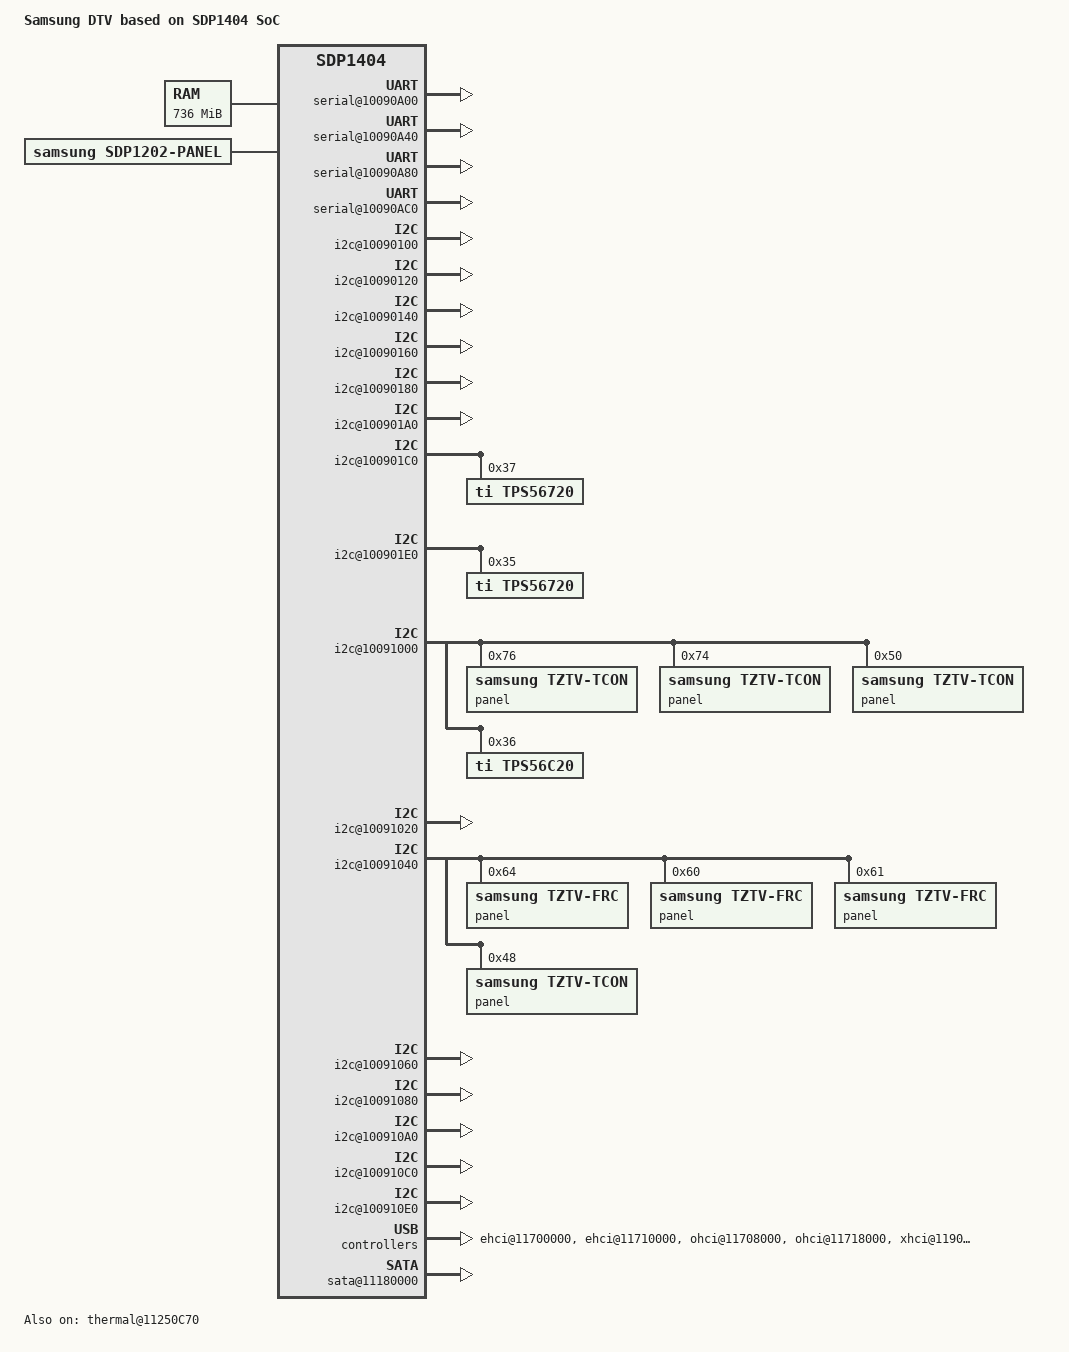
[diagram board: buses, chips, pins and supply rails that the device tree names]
/*
 * Copyright (C) 2014 Samsung Electronics Co.Ltd
 *
 * This program is free software; you can redistribute it and/or modify
 * it under the terms of the GNU General Public License version 2 as
 * published by the Free Software Foundation.
 */

/dts-v1/;
#include "sdp1404.dtsi"

/ {
	model = "Samsung DTV based on SDP1404 SoC";
	compatible = "samsung,dtv", "samsung,sdp1404";

	memory {
		device_type = "memory";
		reg =  <0xF2000000 0x2E000000>;
	};
	/*in the below chosen, before  SELP_ENABLE must have more than 1 space.because 2nd booting will change mmcblk0p8 to mmcblk0p11 */
	chosen {
		bootargs = __STR__(root=/dev/mmcblk0p10  console=ttyS0,115200N8  SELP_ENABLE=00000000 rootfstype=vdfs rootwait earlyprintk vmalloc=776M av QUIET_PARAM) ;
	};

	cpus {
		#address-cells = <1>;
		#size-cells = <0>;

		cpu@0 {
			device_type = "cpu";
			compatible = "arm,cortex-a15";
			reg = <0>;
			cluster = <&cluster0>;
			core = <&core0>;
			clock-frequency = <1300000000>;
//			cci-control-port = <&cci_control1>;
		};
		cpu@1 {
			device_type = "cpu";
			compatible = "arm,cortex-a15";
			reg = <1>;
			cluster = <&cluster0>;
			core = <&core1>;
			clock-frequency = <1300000000>;
//			cci-control-port = <&cci_control1>;
		};

		cpu@2 {
			device_type = "cpu";
			compatible = "arm,cortex-a15";
			reg = <2>;
			cluster = <&cluster0>;
			core = <&core2>;
			clock-frequency = <1300000000>;
//			cci-control-port = <&cci_control1>;
		};

		cpu@3 {
			device_type = "cpu";
			compatible = "arm,cortex-a15";
			reg = <3>;
			cluster = <&cluster0>;
			core = <&core3>;
			clock-frequency = <1300000000>;
//			cci-control-port = <&cci_control1>;
		};
		
		cpu@4 {
			device_type = "cpu";
			compatible = "arm,cortex-a7";
			reg = <0x100>;
			cluster = <&cluster1>;
			core = <&core4>;
			clock-frequency = <1000000000>;
//			cci-control-port = <&cci_control2>;
		};
		cpu@5 {
			device_type = "cpu";
			compatible = "arm,cortex-a7";
			reg = <0x101>;
			cluster = <&cluster1>;
			core = <&core5>;
			clock-frequency = <1000000000>;
//			cci-control-port = <&cci_control2>;
		};

		cpu@6 {
			device_type = "cpu";
			compatible = "arm,cortex-a7";
			reg = <0x102>;
			cluster = <&cluster1>;
			core = <&core6>;
			clock-frequency = <1000000000>;
//			cci-control-port = <&cci_control2>;
		};

		cpu@7 {
			device_type = "cpu";
			compatible = "arm,cortex-a7";
			reg = <0x103>;
			cluster = <&cluster1>;
			core = <&core7>;
			clock-frequency = <1000000000>;
//			cci-control-port = <&cci_control2>;
		};

	};

	fixed-rate-clocks {
		fin {
			compatible = "samsung,sdp-clock-fin";
			clock-frequency = <24576000>;
		};
		fin-lvds {
			compatible = "samsung,sdp-clock-fin-lvds";
			clock-frequency = <148500000>;
		};
	};

	pinctrl{ // only P
		compatible = "samsung,sdp-pinctrl";
		reg = <0x11250C00 0x2f0>;
		start-offset = <0x118>;
		nr-banks = <27>;	
		model-sel = <1>;	
	};

	serial@10090A00 {
		status = "okay";
	};
	
	serial@10090A40 {
		status = "okay";
	};
	
	serial@10090A80 {
		status = "okay";
	};
	
	serial@10090AC0 {
		status = "okay";
	};
	
	i2c@10090100 {
		status = "okay";
		samsung,i2c-sda-delay = <1>;
		samsung,i2c-max-bus-freq = <400000>;
		samsung,i2c-irq-status-reg = <0x100901F4>;
		samsung,i2c-cpu-affinity = <3>;
	};

	i2c@10090120 {
		status = "okay";
		samsung,i2c-sda-delay = <1>;
		samsung,i2c-max-bus-freq = <400000>;
		samsung,i2c-irq-status-reg = <0x100901F4>;
		samsung,i2c-cpu-affinity = <3>;
	};

	i2c@10090140 { 
		status = "okay";
		samsung,i2c-sda-delay = <1>;
		samsung,i2c-max-bus-freq = <400000>;
		samsung,i2c-irq-status-reg = <0x100901F4>;
		samsung,i2c-cpu-affinity = <3>;
	};

	i2c@10090160 {
		status = "okay";
		samsung,i2c-sda-delay = <1>;
		samsung,i2c-max-bus-freq = <400000>;
		samsung,i2c-irq-status-reg = <0x100901F4>;
		samsung,i2c-cpu-affinity = <3>;
	};

	i2c@10090180 {
		status = "okay";
		samsung,i2c-sda-delay = <1>;
		samsung,i2c-max-bus-freq = <400000>;
		samsung,i2c-irq-status-reg = <0x100901F4>;
		samsung,i2c-cpu-affinity = <3>;
	};

	i2c@100901A0 {
		status = "okay";
		samsung,i2c-sda-delay = <1>;
		samsung,i2c-max-bus-freq = <400000>;
		samsung,i2c-irq-status-reg = <0x100901F4>;
		samsung,i2c-cpu-affinity = <3>;
	};

	i2c@100901C0 {
		status = "okay";
		samsung,i2c-sda-delay = <1>;
		samsung,i2c-max-bus-freq = <400000>;
		samsung,i2c-irq-status-reg = <0x100901F4>;
		samsung,i2c-cpu-affinity = <3>;

		tps56720@37 {
			compatible = "ti,tps56720";
			reg = <0x37>;
		
			regulator-name = "CPU_BIG_PW";
			regulator-min-microvolt = <600000>;
			regulator-max-microvolt = <1870000>;
			regulator-always-on;
			regulator-boot-on;
			
			default_volt = <1230000>;
		};
	};

	i2c@100901E0 {
		status = "okay";
		samsung,i2c-sda-delay = <1>;
		samsung,i2c-max-bus-freq = <400000>;
		samsung,i2c-irq-status-reg = <0x100901F4>;
		samsung,i2c-cpu-affinity = <3>;

		tps56720@35 {
			compatible = "ti,tps56720";
			reg = <0x35>;

			regulator-name = "GPU_LOG_PW";
			regulator-min-microvolt = <600000>;
			regulator-max-microvolt = <1870000>;
			regulator-always-on;
			regulator-boot-on;

			default_volt = <1100000>;
		};
	};

	i2c@10091000 {
		status = "okay";
		samsung,i2c-sda-delay = <1>;
		samsung,i2c-max-bus-freq = <400000>;
		samsung,i2c-irq-status-reg = <0x100910F4>;
		samsung,i2c-cpu-affinity = <3>;

		/* panel 0xEC */
		panel@76 {
			compatible = "samsung,tztv-tcon";
			reg = <0x76>;
		};

		/* panel 0xE8 */
		panel@74 {
			compatible = "samsung,tztv-tcon";
			reg = <0x74>;
		};

		/* panel 0xA0 */
		panel@50 {
			compatible = "samsung,tztv-tcon";
			reg = <0x50>;
		};

		tps56c20@36 {
			compatible = "ti,tps56c20";
			reg = <0x36>;
		
			regulator-name = "CORE_PW";
			regulator-min-microvolt = <600000>;
			regulator-max-microvolt = <1870000>;
			regulator-always-on;
			regulator-boot-on;
			
			default_volt = <1130000>;
		};
	};

	i2c@10091020 {
		status = "okay";
		samsung,i2c-sda-delay = <1>;
		samsung,i2c-max-bus-freq = <400000>;
		samsung,i2c-irq-status-reg = <0x100910F4>;
		samsung,i2c-pad-enable = <0x11250C40 0x800000>;
		samsung,i2c-cpu-affinity = <3>;
	};

	i2c@10091040 { 
		status = "okay";
		samsung,i2c-sda-delay = <1>;
		samsung,i2c-max-bus-freq = <400000>;
		samsung,i2c-irq-status-reg = <0x100910F4>;
	//	samsung,i2c-pad-enable = <0x10030000 0x80000000>;// Mux HS
		samsung,i2c-cpu-affinity = <3>;

		/* panel C8 */
		panel@64 {
			compatible = "samsung,tztv-frc";
			/*samsung,sw-pvcc = <&gpio0 3 1>;*/
			reg = <0x64>;
		};

		/* panel C0 SUB */
		panel@60 {
			compatible = "samsung,tztv-frc";
			/*samsung,sw-pvcc = <&gpio0 3 1>;*/
			reg = <0x60>;
		};

		/* panel C2 SUB */
		panel@61 {
			compatible = "samsung,tztv-frc";
			/*samsung,sw-pvcc = <&gpio0 3 1>;*/
			 reg = <0x61>;
		};

		/* panel 0x90 */
		panel@48 {
			compatible = "samsung,tztv-tcon";
			reg = <0x48>;
		};
	};

	i2c@10091060 {
		status = "okay";
		samsung,i2c-sda-delay = <1>;
		samsung,i2c-max-bus-freq = <400000>;
		samsung,i2c-irq-status-reg = <0x100910F4>;
		samsung,i2c-pad-enable = <0x11250C40 0x1000000>;
		samsung,i2c-cpu-affinity = <3>;
	};

	i2c@10091080 {
		status = "okay";
		samsung,i2c-sda-delay = <1>;
		samsung,i2c-max-bus-freq = <400000>;
		samsung,i2c-irq-status-reg = <0x100910F4>;
		samsung,i2c-pad-enable = <0x11250C40 0x2000000>;
		samsung,i2c-cpu-affinity = <3>;
	};

	i2c@100910A0 {
		status = "okay";
		samsung,i2c-sda-delay = <1>;
		samsung,i2c-max-bus-freq = <400000>;
		samsung,i2c-irq-status-reg = <0x100910F4>;
		samsung,i2c-cpu-affinity = <3>;
	};

	i2c@100910C0 {
		status = "okay";
		samsung,i2c-sda-delay = <1>;
		samsung,i2c-max-bus-freq = <400000>;
		samsung,i2c-irq-status-reg = <0x100910F4>;
		samsung,i2c-pad-enable = <0x11250C44 0x8000000>;
		samsung,i2c-cpu-affinity = <3>;
	};

	i2c@100910E0 {
		status = "okay";
		samsung,i2c-sda-delay = <1>;
		samsung,i2c-max-bus-freq = <400000>;
		samsung,i2c-irq-status-reg = <0x100910F4>;
		samsung,i2c-pad-enable = <0x11250C44 0x10000000>;
		samsung,i2c-cpu-affinity = <3>;

	};

	panel: panel {
		compatible = "samsung,sdp1202-panel";

	};

	dummy_panel {
		compatible = "dummy_panel";

		panel = <&panel>;

		display-timings {
			native-mode = <&timing0>;

			timing0: timing-0 {
				 clock-frequency = <0>;
				 hactive = <1920>;
				 vactive = <1080>;
				 hfront-porch = <0>;
				 hback-porch = <0>;
				 hsync-len = <0>;
				 vfront-porch = <0>;
				 vback-porch = <0>;
				 vsync-len = <0>;
			};
		};
	};
	
	mmc {
		/* Host Caps */
//		ddr50;
//		hs200;
//		hs200-tuning;
		hs400;
	};

	ethernet@10020000 {
		phy_sel_reg = <0x10040000 0x1 0x1>;		/* select RGMII for eval board*/
	};

	gadma@18B40000 {
		status = "okay";
	};

	ehci@11700000 {
		status = "okay";
/*
		samsung,sw-reset = <0x11250000 0x8B4 0x20000>;
		samsung,ehci-gpr_reg = <0x1170C000 0x04 0x7000>;
		samsung,ehci-gpr_reg1 = <0x1170C000 0x0C 0x100C0>;
		samsung,sw-reset-release = <0x11250000 0x8B4 0x20000>;
*/
	};

	ehci@11710000 {
		status = "okay";
/*
		samsung,sw-reset = <0x11250000 0x8B4 0x40000>;
		samsung,ehci-gpr_reg = <0x1170C000 0x18 0x7000>;
		samsung,ehci-gpr_reg1 = <0x1170C000 0x20 0x100C0>;
		samsung,sw-reset-release = <0x11250000 0x8B4 0x40000>;
*/
	};

	ohci@11708000 {
		status = "okay";
	};

	ohci@11718000 {
		status = "okay";
	};

	xhci@11900000 {
		status = "okay";
	};

	thermal@11250C70 {
		status = "okay";
		compatible = "samsung,sdp-thermal";

		reg = <0x11250C70 0x30>;

		sensor_id = <0>;

		start_cold_throttle	= <40>;
		stop_cold_throttle	= <45>;
		stop_1st_throttle	= <102>;
		start_1st_throttle	= <110>;
		stop_2nd_throttle	= <112>;
		start_2nd_throttle	= <118>;
		stop_3rd_throttle	= <120>;
		start_3rd_throttle	= <125>;
		start_3rd_hotplug	= <130>;

		cpu_limit_1st_throttle	= <1000000>;
		cpu_limit_2nd_throttle	= <700000>;
		cpu_limit_3rd_throttle	= <100000>;

		cpu_lt_limit_1st_throttle = <1000000>;
		cpu_lt_limit_2nd_throttle = <1000000>;
		cpu_lt_limit_3rd_throttle = <1000000>;

		gpu_limit_1st_throttle	= <200000>;
		gpu_limit_2nd_throttle	= <200000>;
		gpu_limit_3rd_throttle	= <100000>;

		log_file_path = "/mtd_rwarea/ThermalThrottle.txt";
	};
	
	sata@11180000 {
		status = "okay";
	};
};
